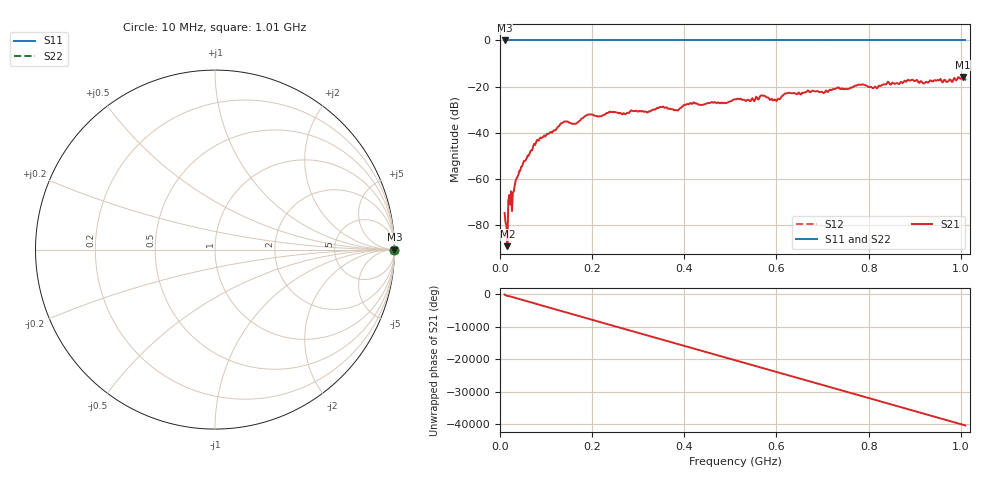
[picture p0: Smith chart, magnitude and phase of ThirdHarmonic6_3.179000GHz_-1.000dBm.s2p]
! 8/17/2025 9:35:45 AM
! C:\ANRITSUVNA\TEMP\TEMP.S2P
! CHANNEL.1
! TR.MEASUREMENT
! RAW.DATA
! RF.CORRECTION.OFF
! AVERAGING.OFF
! IF.BANDWIDTH: 5KHZ
! SWEEPTYPE:  FREQ.SWEEP(Linear)
! Reference Plane Port Info
! PORT:  PORT1  PORT2
! DISTANCE:  0  m  0  m
! TIME:  0  s  0  s
! PHASE.OFFSET:  0  deg.  0  deg.
! LOSS:  0  dB  0  dB
! REF.LOSS:  0  dB  0  dB
! REF.FREQ:  0  Hz  0  Hz
! Power Info
! POWER:  -20  dBm  -20  dBm
! EFF.POWER:  -20  dBm  -20  dBm
! SOURCE.ATTEN:  0  dB  0  dB
! TEST.ATTEN:  0  dB  0  dB
# GHZ S RI R 50.0
! FREQ.GHZ  S11RE  S11IM  S21RE  S21IM  S12RE  S12IM  S22RE  S22IM
!; PortSelection: Port_12
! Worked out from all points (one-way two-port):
!   501 points, 10 MHz to 1.01 GHz, reference 50 ohm
!   highest |S21| = -15.86 dB at 1.004 GHz (marker M1); lowest = -89.1 dB at 16 MHz (marker M2)
!   lowest |S11| = 0.0 dB at 10 MHz (marker M3)
!   |S11| at or under -10 dB: nowhere
!   |S22| runs from 0.0 to 0.0 dB; largest |S21 - S12| = 1.2
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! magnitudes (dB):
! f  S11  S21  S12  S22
! 10 MHz  0.0  -74.7  0.0  0.0
! 12 MHz  0.0  -78.8  0.0  0.0
! 16 MHz  0.0  -89.1  0.0  0.0
! 20 MHz  0.0  -66.9  0.0  0.0
! 26 MHz  0.0  -73.8  0.0  0.0
! 38 MHz  0.0  -59.0  0.0  0.0
! 78 MHz  0.0  -44.4  0.0  0.0
! 136 MHz  0.0  -35.7  0.0  0.0
! 162 MHz  0.0  -36.0  0.0  0.0
! 178 MHz  0.0  -33.8  0.0  0.0
! 194 MHz  0.0  -32.0  0.0  0.0
! 344 MHz  0.0  -29.3  0.0  0.0
! 382 MHz  0.0  -30.1  0.0  0.0
! 416 MHz  0.0  -27.5  0.0  0.0
! 510 MHz  0.0  -25.5  0.0  0.0
! 570 MHz  0.0  -23.9  0.0  0.0
! 596 MHz  0.0  -25.6  0.0  0.0
! 622 MHz  0.0  -22.9  0.0  0.0
! 678 MHz  0.0  -21.8  0.0  0.0
! 844 MHz  0.0  -18.2  0.0  0.0
! 1.004 GHz  0.0  -15.9  0.0  0.0
! 1.01 GHz  0.0  -17.0  0.0  0.0
